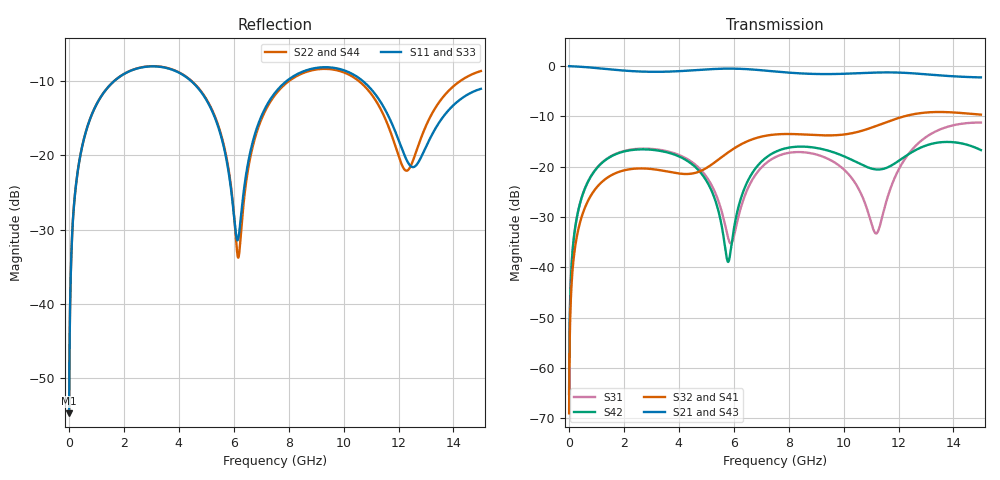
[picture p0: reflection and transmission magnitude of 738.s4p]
! Created with skrf 1.8.0 (http://scikit-rf.org).
# GHz S RI R 50.0
!freq ReS11 ImS11 ReS12 ImS12 ReS13 ImS13
! ReS14 ImS14
! ReS21 ImS21 ReS22 ImS22 ReS23 ImS23
! ReS24 ImS24
! ReS31 ImS31 ReS32 ImS32 ReS33 ImS33
! ReS34 ImS34
! ReS41 ImS41 ReS42 ImS42 ReS43 ImS43
! ReS44 ImS44
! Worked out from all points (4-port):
!   2499 points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, 5 MHz to 15 GHz, reference 50 ohm
!   strongest paths, dB at 5 MHz, 3.476 GHz, 7.19 GHz, 11.1 GHz, 15 GHz:
!     S21: 0.0, -1.1, -0.9, -1.3, -2.2
!     S43: 0.0, -1.1, -0.9, -1.3, -2.3
!     S32: -69.0, -20.8, -13.8, -12.1, -9.6
!     S41: -69.0, -20.9, -13.8, -12.1, -9.7
!     S42: -65.1, -17.0, -18.1, -20.5, -16.7
!     S31: -65.1, -16.8, -19.2, -32.6, -11.2
!   lowest |S11| = -54.7 dB at 5 MHz (marker M1), VSWR 1.00, Z = 50.1 + j0.112 ohm
!   |S11| at or under -10 dB: start of sweep to 1.658 GHz; 4.44 GHz to 7.937 GHz (3.497 GHz wide, 56.5 % of centre); 10.69 GHz to end of sweep
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0.005  0.00146 0.00111  0.9985 -0.00284  7.18e-05 0.00055  -6.99e-05 -0.000349
       0.9985 -0.00284  0.00146 0.00111  -6.99e-05 -0.000349  7.18e-05 0.00055
       7.18e-05 0.00055  -6.99e-05 -0.000349  0.00146 0.00111  0.9985 -0.00284
       -6.99e-05 -0.000349  7.18e-05 0.00055  0.9985 -0.00284  0.00146 0.00111
0.3126303  0.0197 0.074  0.9732 -0.1776  0.00861 0.0331  -0.00713 -0.0209
           0.9732 -0.1776  0.0198 0.074  -0.00714 -0.0209  0.00839 0.0331
           0.00861 0.0331  -0.00714 -0.0209  0.0197 0.074  0.9732 -0.1776
           -0.00713 -0.0209  0.00839 0.0331  0.9732 -0.1776  0.0198 0.074
1.569404  0.2389 0.1905  0.615 -0.6892  0.1123 0.0639  -0.0815 -0.0165
          0.615 -0.6892  0.2399 0.19  -0.0816 -0.0164  0.1091 0.0676
          0.1123 0.0639  -0.0816 -0.0164  0.2389 0.1906  0.615 -0.6893
          -0.0815 -0.0165  0.1091 0.0676  0.615 -0.6893  0.24 0.1899
5.977491  0.0293 -0.0335  -0.9318 -0.1503  -0.0159 0.0106  -0.021 0.1486
          -0.9318 -0.1503  0.0235 -0.0394  -0.0191 0.1489  0.014 0.0167
          -0.0159 0.0106  -0.0191 0.1489  0.0305 -0.0349  -0.9316 -0.1506
          -0.021 0.1486  0.014 0.0167  -0.9316 -0.1506  0.0229 -0.0411
9.52897  0.3877 -0.0292  0.0112 0.8335  0.0948 -0.0675  0.1988 -0.0473
         0.0112 0.8335  0.3775 -0.025  0.1985 -0.0513  0.0938 -0.107
         0.0948 -0.0675  0.1985 -0.0513  0.3852 -0.0308  0.0123 0.8343
         0.1988 -0.0473  0.0938 -0.107  0.0123 0.8343  0.3761 -0.0245
11.19216  0.1909 -0.1635  0.6334 0.5864  -0.0212 -0.00472  0.1729 -0.1871
          0.6334 0.5864  0.1763 -0.1471  0.1687 -0.191  -0.0779 -0.0528
          -0.0212 -0.00472  0.1687 -0.191  0.1872 -0.1632  0.6355 0.585
          0.1729 -0.1871  -0.0779 -0.0528  0.6355 0.585  0.1749 -0.1445
15  0.2732 0.0582  0.315 -0.7053  0.2309 -0.1494  -0.3187 -0.0732
    0.315 -0.7053  0.3642 0.0519  -0.3235 -0.0639  0.1417 0.0371
    0.2309 -0.1494  -0.3235 -0.0639  0.273 0.0623  0.311 -0.7053
    -0.3187 -0.0732  0.1417 0.0371  0.311 -0.7053  0.3706 0.0503
